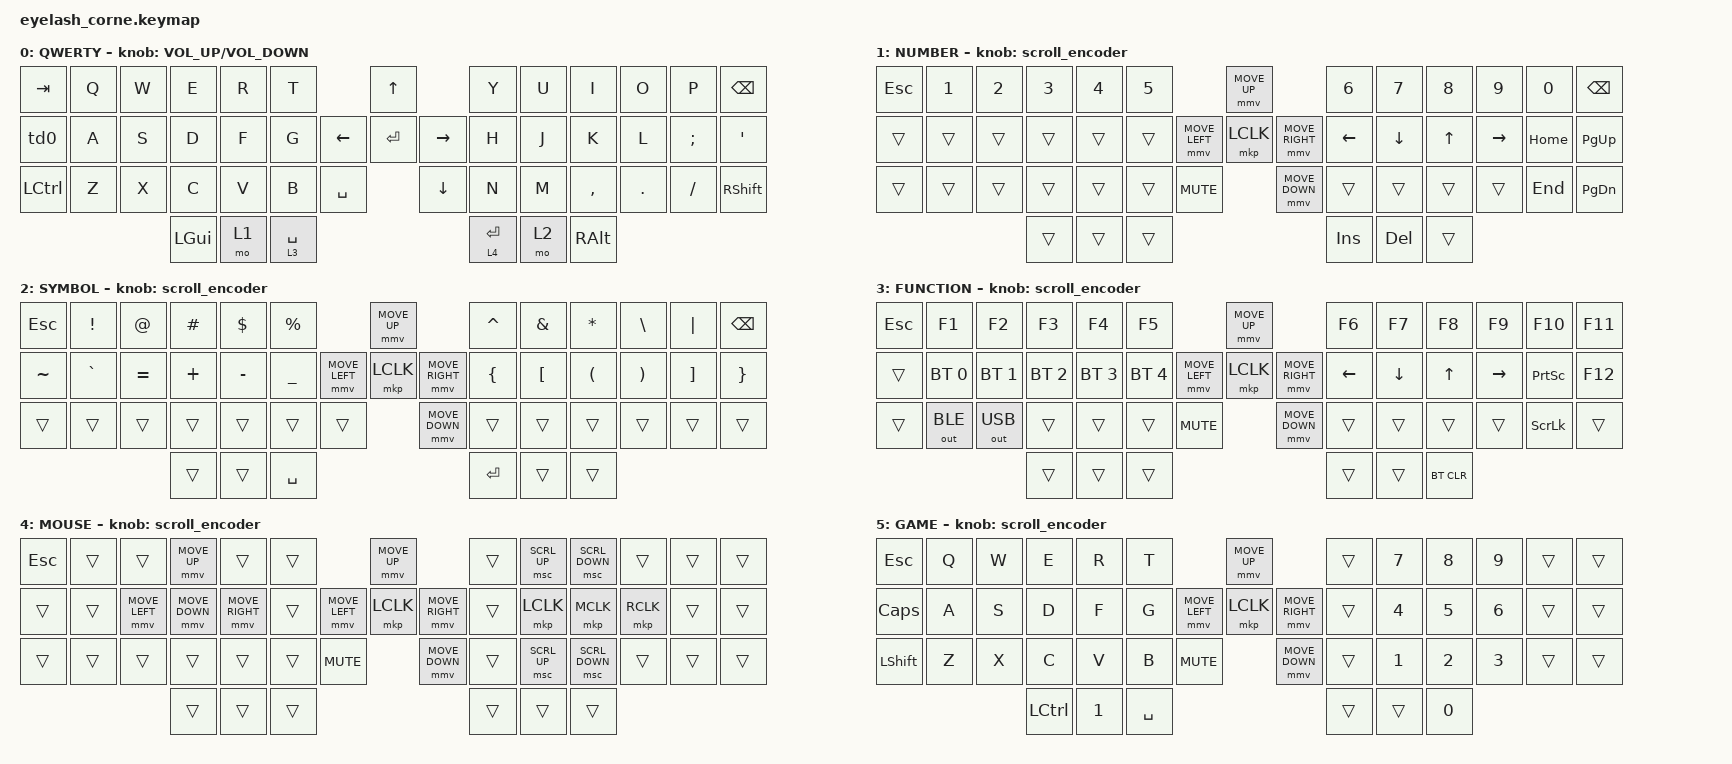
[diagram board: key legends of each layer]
#define ZMK_POINTING_DEFAULT_MOVE_VAL 1200  // 600
#define ZMK_POINTING_DEFAULT_SCRL_VAL 50   // 10

#include <input/processors.dtsi>
#include <zephyr/dt-bindings/input/input-event-codes.h>
#include <behaviors.dtsi>
#include <dt-bindings/zmk/bt.h>
#include <dt-bindings/zmk/keys.h>
#include <dt-bindings/zmk/outputs.h>
#include <dt-bindings/zmk/pointing.h>
#include <dt-bindings/zmk/rgb.h>

&mmv_input_listener { input-processors = <&zip_xy_scaler 2 1>; };

&msc_input_listener { input-processors = <&zip_scroll_scaler 2 1>; };

&msc {
    acceleration-exponent = <1>;      // 0
    time-to-max-speed-ms = <100>;       // 300
    delay-ms = <0>;                   // 0
};



&mmv {
    time-to-max-speed-ms = <500>;
    acceleration-exponent = <1>;
    trigger-period-ms = <16>;
};

/ {
    behaviors {
        td0: td0 {
            compatible = "zmk,behavior-tap-dance";
            tapping-term-ms = <400>;
            display-name = "Shift/Caps Lock Tap Dance";
            #binding-cells = <0>;
            bindings = <&kp LEFT_SHIFT>, <&kp CAPS>;
        };
    };

    combos {
        compatible = "zmk,combos";
        combo_game {
            timeout-ms = <50>;
            key-positions = <11 12>;
            layers = <0 5>;
            bindings = <&tog 5>;
        };
    };

    rgb_encoder: rgb_encoder {
        compatible = "zmk,behavior-sensor-rotate";
        #sensor-binding-cells = <0>;
        bindings = <&rgb_ug RGB_BRI>, <&rgb_ug RGB_BRD>;
    };

    scroll_encoder: scroll_encoder {
        compatible = "zmk,behavior-sensor-rotate";
        #sensor-binding-cells = <0>;
        bindings = <&msc SCRL_DOWN>, <&msc SCRL_UP>;

        tap-ms = <100>;
    };

    keymap {
        compatible = "zmk,keymap";

        default_layer {
            display-name = "QWERTY";
            bindings = <
&kp TAB    &kp Q  &kp W  &kp E     &kp R  &kp T                               &kp UP                &kp Y        &kp U  &kp I      &kp O    &kp P     &kp BSPC
&td0       &kp A  &kp S  &kp D     &kp F  &kp G                     &kp LEFT  &kp ENTER  &kp RIGHT  &kp H        &kp J  &kp K      &kp L    &kp SEMI  &kp SQT
&kp LCTRL  &kp Z  &kp X  &kp C     &kp V  &kp B        &kp SPACE              &kp DOWN              &kp N        &kp M  &kp COMMA  &kp DOT  &kp FSLH  &kp RIGHT_SHIFT
                         &kp LGUI  &mo 1  &lt 3 SPACE                                               &lt 4 ENTER  &mo 2  &kp RALT
            >;

             sensor-bindings = <&inc_dec_kp C_VOLUME_UP C_VOLUME_DOWN>;

           
        };

        lower_layer {
            display-name = "NUMBER";
            bindings = <
&kp ESC   &kp N1    &kp N2   &kp N3   &kp N4   &kp N5                                   &mmv MOVE_UP                     &kp N6     &kp N7    &kp N8  &kp N9    &kp N0    &kp BSPC
&trans    &trans    &trans   &trans   &trans   &trans                   &mmv MOVE_LEFT  &mkp LCLK       &mmv MOVE_RIGHT  &kp LEFT   &kp DOWN  &kp UP  &kp RIGHT &kp HOME  &kp PG_UP
&trans    &trans    &trans   &trans   &trans   &trans   &kp C_MUTE                      &mmv MOVE_DOWN                   &trans     &trans    &trans  &trans    &kp END   &kp PG_DN
                             &trans   &trans   &trans                                                                    &kp INS    &kp DEL   &trans
            >;

            sensor-bindings = <&scroll_encoder>;
        };

        raise_layer {
            display-name = "SYMBOL";
            bindings = <
&kp ESC     &kp EXCL      &kp AT       &kp HASH   &kp DLLR   &kp PRCNT                            &mmv MOVE_UP                     &kp CARET  &kp AMPS   &kp ASTRK  &kp BSLH  &kp PIPE  &kp BSPC
&kp TILDE   &kp GRAVE     &kp EQUAL    &kp PLUS   &kp MINUS  &kp UNDER            &mmv MOVE_LEFT  &mkp LCLK       &mmv MOVE_RIGHT  &kp LBRC   &kp LBKT   &kp LPAR   &kp RPAR  &kp RBKT  &kp RBRC 
&trans      &trans        &trans       &trans     &trans     &trans     &trans                    &mmv MOVE_DOWN                   &trans     &trans     &trans     &trans    &trans    &trans
                                       &trans     &trans     &kp SPACE                                                             &kp ENTER  &trans     &trans
            >;

            sensor-bindings = <&scroll_encoder>;
        };

        layer_3 {
            display-name = "FUNCTION";
            bindings = <
&kp ESC  &kp F1          &kp F2          &kp F3        &kp F4        &kp F5                                    &mmv MOVE_UP                      &kp F6       &kp F7     &kp F8     &kp F9      &kp F10          &kp F11
&trans   &bt BT_SEL 0    &bt BT_SEL 1    &bt BT_SEL 2  &bt BT_SEL 3  &bt BT_SEL 4              &mmv MOVE_LEFT  &mkp LCLK       &mmv MOVE_RIGHT   &kp LEFT     &kp DOWN   &kp UP     &kp RIGHT   &kp PRINTSCREEN  &kp F12
&trans   &out OUT_BLE    &out OUT_USB    &trans        &trans        &trans        &kp C_MUTE                  &mmv MOVE_DOWN                    &trans       &trans     &trans     &trans      &kp SCROLLLOCK   &trans
                                         &trans        &trans        &trans                                                                      &trans       &trans     &bt BT_CLR
            >;

            sensor-bindings = <&scroll_encoder>;
        };

        layer_4 {
            display-name = "MOUSE";
            bindings = <
&kp ESC   &trans   &trans            &mmv MOVE_UP     &trans            &trans                                 &mmv MOVE_UP                      &trans    &msc SCRL_UP &msc SCRL_DOWN  &trans     &trans    &trans
&trans    &trans   &mmv MOVE_LEFT    &mmv MOVE_DOWN   &mmv MOVE_RIGHT   &trans                 &mmv MOVE_LEFT  &mkp LCLK       &mmv MOVE_RIGHT   &trans    &mkp LCLK    &mkp MCLK       &mkp RCLK  &trans    &trans
&trans    &trans   &trans            &trans           &trans            &trans    &kp C_MUTE                   &mmv MOVE_DOWN                    &trans    &msc SCRL_UP &msc SCRL_DOWN  &trans     &trans    &trans
                                    &trans            &trans            &trans                                                                   &trans    &trans       &trans
            >;

            sensor-bindings = <&scroll_encoder>;
        };


        layer_5 {
            display-name = "GAME";
            bindings = <
&kp ESC           &kp Q   &kp W     &kp E       &kp R       &kp T                                   &mmv MOVE_UP                      &trans    &kp N7   &kp N8   &kp N9     &trans    &trans
&kp CAPS          &kp A   &kp S     &kp D       &kp F       &kp G                   &mmv MOVE_LEFT  &mkp LCLK       &mmv MOVE_RIGHT   &trans    &kp N4   &kp N5   &kp N6     &trans    &trans
&kp LEFT_SHIFT    &kp Z   &kp X     &kp C       &kp V       &kp B      &kp C_MUTE                   &mmv MOVE_DOWN                    &trans    &kp N1   &kp N2   &kp N3     &trans    &trans
                                    &kp LCTRL   &kp N1      &kp SPACE                                                                 &trans    &trans   &kp N0
            >;

            sensor-bindings = <&scroll_encoder>;
        };
    };
};
